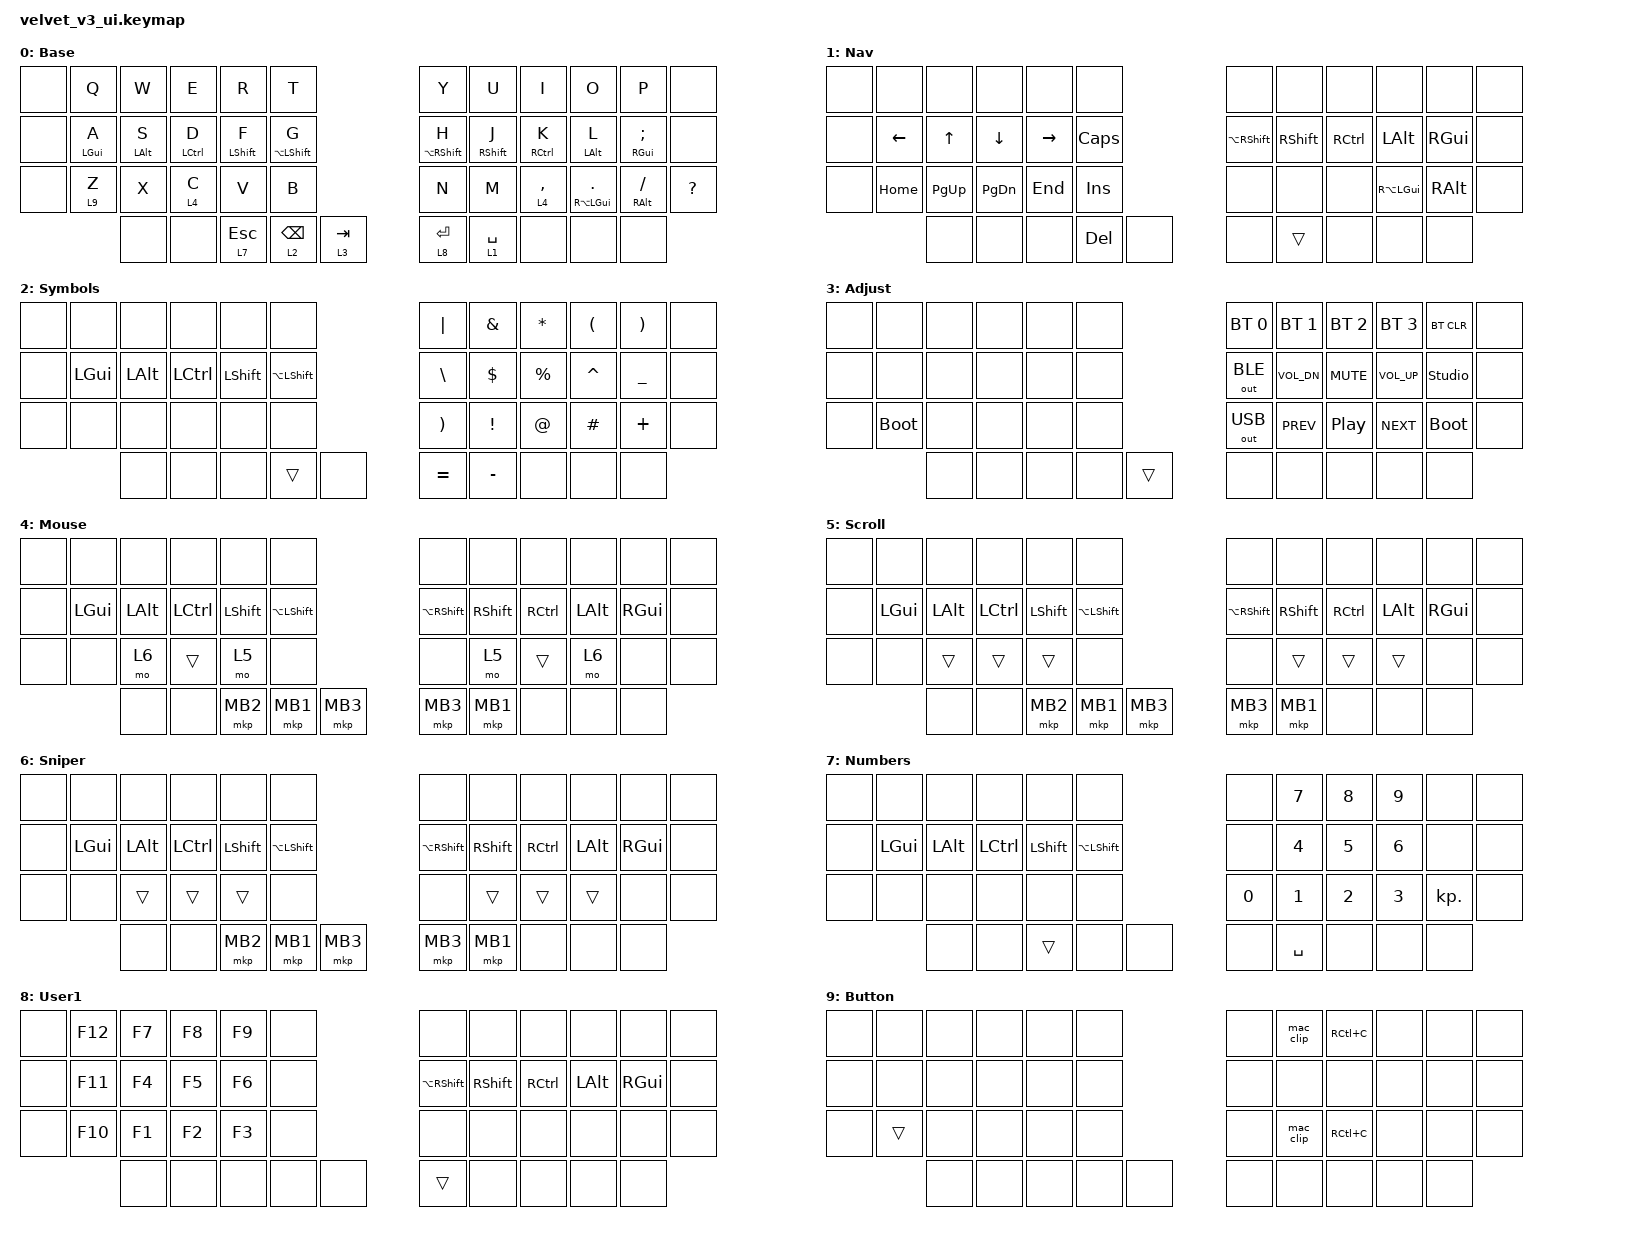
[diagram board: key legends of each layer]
#include "keys_ru.h"
#include <dt-bindings/zmk/input_transform.h>
#include <input/processors.dtsi>
#include <zephyr/dt-bindings/input/input-event-codes.h>
#include <behaviors.dtsi>
#include <dt-bindings/zmk/bt.h>
#include <dt-bindings/zmk/keys.h>
#include <dt-bindings/zmk/outputs.h>
#include <dt-bindings/zmk/pointing.h>

/ {
    behaviors {
        lt_balanced: lt_balanced {
            compatible = "zmk,behavior-hold-tap";
            label = "LT_BALANCED";
            bindings = <&mo>, <&kp>;

            #binding-cells = <2>;
            tapping-term-ms = <280>;
            quick-tap-ms = <200>;
            flavor = "balanced";
        };

        hmr: hmr {
            compatible = "zmk,behavior-hold-tap";
            label = "HMR";
            bindings = <&kp>, <&kp>;

            #binding-cells = <2>;
            tapping-term-ms = <200>;
            flavor = "balanced";
            hold-trigger-key-positions = <0 1 2 3 4 5 12 13 14 15 16 17 24 25 26 27 28 29 36 37 38 39 40>;
            hold-trigger-on-release;
        };

        hml: hml {
            compatible = "zmk,behavior-hold-tap";
            label = "HML";
            bindings = <&kp>, <&kp>;

            #binding-cells = <2>;
            tapping-term-ms = <200>;
            flavor = "balanced";
            hold-trigger-key-positions = <6 7 8 9 10 18 19 20 21 22 30 31 32 33 34 42 43 44 45 41 11 23 35>;
            hold-trigger-on-release;
        };

        mt_tap: mt_tap {
            compatible = "zmk,behavior-hold-tap";
            label = "MT_TAP";
            bindings = <&kp>, <&kp>;

            #binding-cells = <2>;
            tapping-term-ms = <200>;
            flavor = "tap-preferred";
        };

        zip_auto_mouse: zip_auto_mouse {
            compatible = "zmk,input-processor-temp-layer";
            #input-processor-cells = <2>;
            require-prior-idle-ms = <800>;
            excluded-positions = <>;
        };
    };

    combos {
        compatible = "zmk,combos";

        left_bracket {
            bindings = <&kp LEFT_BRACKET>;
            key-positions = <7 8>;
            layers = <0>;
        };

        right_bracket {
            bindings = <&kp RIGHT_BRACKET>;
            key-positions = <8 9>;
            layers = <0>;
        };

        lang_en {
            bindings = <&kp LC(LS(NUMBER_1))>;
            key-positions = <31 32>;
            layers = <0>;
        };

        grave_xc {
            bindings = <&kp GRAVE>;
            key-positions = <26 27>;
            layers = <0>;
        };

        quot_comma_dot {
            bindings = <&kp SINGLE_QUOTE>;
            key-positions = <32 33>;
            layers = <0>;
        };

        lang_ru {
            bindings = <&kp LC(LS(NUMBER_2))>;
            key-positions = <28 27>;
            layers = <0>;
        };
    };

    macros {
        mac_clip: ctrl_space_4 {
            compatible = "zmk,behavior-macro";
            #binding-cells = <0>;
            bindings =
                <&macro_press>,
                <&kp LCTRL &kp SPACE>,
                <&macro_tap>,
                <&kp NUMBER_4>,
                <&macro_release>,
                <&kp SPACE &kp LCTRL>;

            label = "CTRL_SPACE_4";
            wait-ms = <50>;
            tap-ms = <50>;
        };
    };

    keymap {
        compatible = "zmk,keymap";

        base {
            bindings = <
&none  &kp Q            &kp W            &kp E         &kp R          &kp T                                               &kp Y             &kp U         &kp I         &kp O                 &kp P                &none
&none  &hml LEFT_GUI A  &hml LEFT_ALT S  &hml LCTRL D  &hml LSHIFT F  &hml LA(LSHFT) G                                    &hmr LA(RSHFT) H  &hmr RSHFT J  &hmr RCTRL K  &hmr LEFT_ALT L       &hmr RIGHT_GUI SEMI  &none
&none  &lt 9 Z          &kp X            &lt 4 C       &kp V          &kp B                                               &kp N             &kp M         &lt 4 COMMA   &mt_tap RA(LGUI) DOT  &mt_tap RALT SLASH   &kp QUESTION
                        &none            &none         &lt 7 ESC      &lt_balanced 2 BACKSPACE  &lt 3 TAB    &lt 8 ENTER  &lt 1 SPACE       &none         &none         &none
            >;

            display-name = "Base";
        };

        nav {
            bindings = <
&none  &none     &none      &none           &none      &none                       &none          &none       &none              &none         &none          &none
&none  &kp LEFT  &kp UP     &kp DOWN_ARROW  &kp RIGHT  &kp CAPS                    &kp LA(RSHFT)  &kp RSHIFT  &kp RIGHT_CONTROL  &kp LEFT_ALT  &kp RIGHT_GUI  &none
&none  &kp HOME  &kp PG_UP  &kp PAGE_DOWN   &kp END    &kp INS                     &none          &none       &none              &kp RA(LGUI)  &kp RALT       &none
                 &none      &none           &none      &kp DELETE  &none    &none  &trans         &none       &none              &none
            >;

            display-name = "Nav";
        };

        sym {
            bindings = <
&none  &none         &none         &none             &none           &none                                   &kp PIPE               &kp AMPERSAND    &kp ASTERISK  &kp LEFT_PARENTHESIS  &kp RIGHT_PARENTHESIS  &none
&none  &kp LEFT_GUI  &kp LEFT_ALT  &kp LEFT_CONTROL  &kp LEFT_SHIFT  &kp LA(LEFT_SHIFT)                      &kp BACKSLASH          &kp DOLLAR       &kp PRCNT     &kp CARET             &kp UNDER              &none
&none  &none         &none         &none             &none           &none                                   &kp RIGHT_PARENTHESIS  &kp EXCLAMATION  &kp AT        &kp HASH              &kp PLUS               &none
                     &none         &none             &none           &trans              &none    &kp EQUAL  &kp MINUS              &none            &none         &none
            >;

            display-name = "Symbols";
        };

        adj {
            bindings = <
&none  &none        &none  &none  &none  &none                   &bt BT_SEL 0  &bt BT_SEL 1  &bt BT_SEL 2      &bt BT_SEL 3  &bt BT_CLR      &none
&none  &none        &none  &none  &none  &none                   &out OUT_BLE  &kp C_VOL_DN  &kp C_MUTE        &kp C_VOL_UP  &studio_unlock  &none
&none  &bootloader  &none  &none  &none  &none                   &out OUT_USB  &kp C_PREV    &kp C_PLAY_PAUSE  &kp C_NEXT    &bootloader     &none
                    &none  &none  &none  &none  &trans    &none  &none         &none         &none             &none
            >;

            display-name = "Adjust";
        };

        mouse {
            bindings = <
&none  &none     &none         &none      &none       &none                                 &none           &none       &none              &none         &none          &none
&none  &kp LGUI  &kp LEFT_ALT  &kp LCTRL  &kp LSHIFT  &kp LA(LSHIFT)                        &kp LA(RSHIFT)  &kp RSHIFT  &kp RIGHT_CONTROL  &kp LEFT_ALT  &kp RIGHT_GUI  &none
&none  &none     &mo 6         &trans     &mo 5       &none                                 &none           &mo 5       &trans             &mo 6         &none          &none
                 &none         &none      &mkp MB2    &mkp MB1        &mkp MB3    &mkp MB3  &mkp MB1        &none       &none              &none
            >;

            display-name = "Mouse";
        };

        scroll {
            bindings = <
&none  &none     &none     &none      &none      &none                                &none          &none      &none      &none     &none     &none
&none  &kp LGUI  &kp LALT  &kp LCTRL  &kp LSHFT  &kp LA(LSHFT)                        &kp LA(RSHFT)  &kp RSHFT  &kp RCTRL  &kp LALT  &kp RGUI  &none
&none  &none     &trans    &trans     &trans     &none                                &none          &trans     &trans     &trans    &none     &none
                 &none     &none      &mkp MB2   &mkp MB1       &mkp MB3    &mkp MB3  &mkp MB1       &none      &none      &none
            >;

            display-name = "Scroll";
        };

        sniper {
            bindings = <
&none  &none     &none     &none      &none      &none                                &none          &none      &none      &none     &none     &none
&none  &kp LGUI  &kp LALT  &kp LCTRL  &kp LSHFT  &kp LA(LSHFT)                        &kp LA(RSHFT)  &kp RSHFT  &kp RCTRL  &kp LALT  &kp RGUI  &none
&none  &none     &trans    &trans     &trans     &none                                &none          &trans     &trans     &trans    &none     &none
                 &none     &none      &mkp MB2   &mkp MB1       &mkp MB3    &mkp MB3  &mkp MB1       &none      &none      &none
            >;

            display-name = "Sniper";
        };

        num {
            bindings = <
&none  &none     &none     &none      &none      &none                          &none         &kp NUMBER_7  &kp NUMBER_8  &kp NUMBER_9  &none       &none
&none  &kp LGUI  &kp LALT  &kp LCTRL  &kp LSHFT  &kp LA(LSHFT)                  &none         &kp NUMBER_4  &kp NUMBER_5  &kp NUMBER_6  &none       &none
&none  &none     &none     &none      &none      &none                          &kp NUMBER_0  &kp NUMBER_1  &kp NUMBER_2  &kp NUMBER_3  &kp KP_DOT  &none
                 &none     &none      &trans     &none          &none    &none  &kp SPACE     &none         &none         &none
            >;

            display-name = "Numbers";
            label = "Numbers";
        };

        fun {
            bindings = <
&none  &kp F12  &kp F7  &kp F8  &kp F9  &none                   &none          &none      &none      &none     &none     &none
&none  &kp F11  &kp F4  &kp F5  &kp F6  &none                   &kp LA(RSHFT)  &kp RSHFT  &kp RCTRL  &kp LALT  &kp RGUI  &none
&none  &kp F10  &kp F1  &kp F2  &kp F3  &none                   &none          &none      &none      &none     &none     &none
                &none   &none   &none   &none  &none    &trans  &none          &none      &none      &none
            >;

            display-name = "User1";
            label = "Function";
        };

        but {
            bindings = <
&none  &none   &none  &none  &none  &none                  &none  &mac_clip  &kp RC(C)  &none  &none  &none
&none  &none   &none  &none  &none  &none                  &none  &none      &none      &none  &none  &none
&none  &trans  &none  &none  &none  &none                  &none  &mac_clip  &kp RC(C)  &none  &none  &none
               &none  &none  &none  &none  &none    &none  &none  &none      &none      &none
            >;

            label = "Button";
        };
    };
};

&trackball { cpi = <200>; };

&trackball_listener {
    input-processors = <&zip_xy_scaler 9 4>;

    scroller {
        layers = <5>;
        input-processors =
            <&zip_xy_transform INPUT_TRANSFORM_Y_INVERT>,
            <&zip_xy_scaler 1 16>,
            <&zip_xy_to_scroll_mapper>;
    };

    sniper {
        layers = <6>;
        input-processors = <&zip_xy_scaler 1 4>;
    };
};
